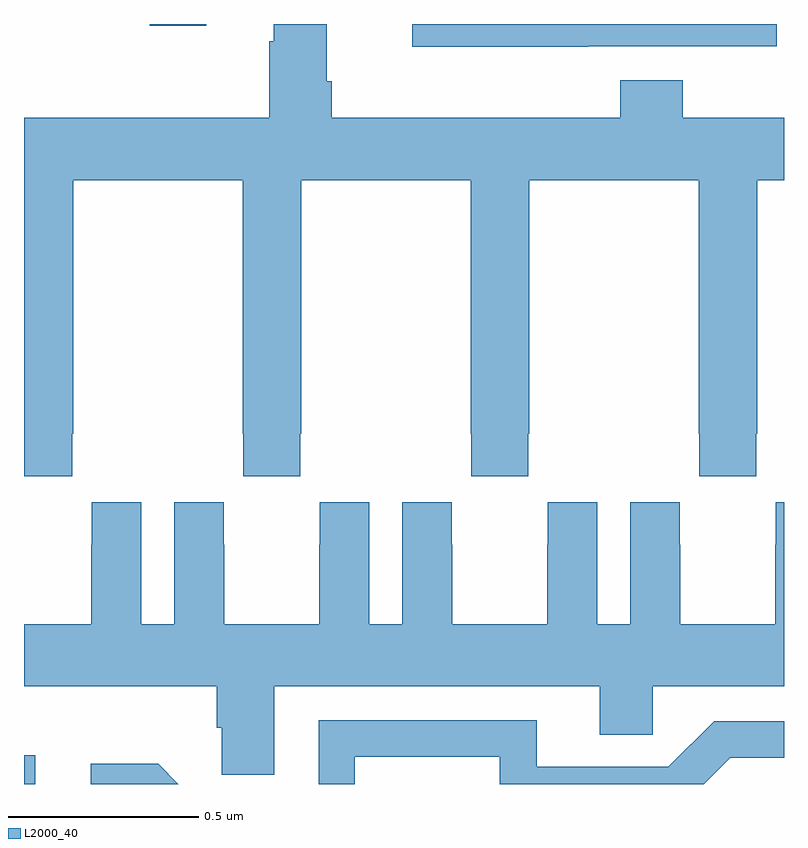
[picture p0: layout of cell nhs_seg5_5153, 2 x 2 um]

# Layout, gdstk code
import gdstk
lib = gdstk.Library(unit=1e-6, precision=1e-09)
def R(c, l, rs):  # rectangles x0, y0, x1, y1
    for r in rs: c.add(gdstk.rectangle(r[:2], r[2:], *l))
def P(c, l, *ps):  # polygons
    for p in ps: c.add(gdstk.Polygon(p, *l))
L2000_40 = (2000, 40)

nhs_seg5_5153 = lib.new_cell('nhs_seg5_5153')
R(nhs_seg5_5153, L2000_40, [(179,893.799,179.029,893.875), (179.331,895.794,179.479,895.799)])
P(nhs_seg5_5153, L2000_40, [(179.127,894.721),(179.13,894.721),(179.13,895.388),(179.575,895.388),(179.575,894.721),(179.577,894.721),(179.577,894.609),(179.727,894.609),(179.727,894.721),(179.73,894.721),(179.73,895.388),(180.175,895.388),(180.175,894.721),(180.177,894.721),(180.177,894.609),(180.327,894.609),(180.327,894.721),(180.33,894.721),(180.33,895.388),(180.775,895.388),(180.775,894.721),(180.777,894.721),(180.777,894.609),(180.927,894.609),(180.927,894.721),(180.93,894.721),(180.93,895.388),(181,895.388),(181,895.552),(180.734,895.552),(180.734,895.651),(180.569,895.651),(180.569,895.552),(179.81,895.552),(179.81,895.648),(179.797,895.648),(179.797,895.799),(179.657,895.799),(179.657,895.754),(179.645,895.754),(179.645,895.552),(179,895.552),(179,894.609),(179.127,894.609)],
  [(180.485,895.74),(180.981,895.74),(180.981,895.799),(180.022,895.799),(180.022,895.739),(180.485,895.739)],
  [(179.659,894.056),(180.515,894.056),(180.515,893.929),(180.654,893.929),(180.654,894.056),(181,894.056),(181,894.541),(180.978,894.541),(180.978,894.428),(180.977,894.428),(180.977,894.22),(180.727,894.22),(180.727,894.428),(180.726,894.428),(180.726,894.541),(180.596,894.541),(180.596,894.22),(180.508,894.22),(180.508,894.541),(180.378,894.541),(180.378,894.428),(180.377,894.428),(180.377,894.22),(180.127,894.22),(180.127,894.428),(180.126,894.428),(180.126,894.541),(179.996,894.541),(179.996,894.22),(179.908,894.22),(179.908,894.541),(179.778,894.541),(179.778,894.428),(179.777,894.428),(179.777,894.22),(179.527,894.22),(179.527,894.428),(179.526,894.428),(179.526,894.541),(179.396,894.541),(179.396,894.22),(179.308,894.22),(179.308,894.541),(179.178,894.541),(179.178,894.428),(179.177,894.428),(179.177,894.22),(179,894.22),(179,894.056),(179.507,894.056),(179.507,893.947),(179.52,893.947),(179.52,893.824),(179.659,893.824)],
  [(179.871,893.871),(180.252,893.871),(180.252,893.799),(180.789,893.799),(180.858,893.868),(181,893.868),(181,893.964),(180.816,893.964),(180.696,893.844),(180.349,893.844),(180.349,893.967),(179.775,893.967),(179.775,893.799),(179.871,893.799)],
  [(179.353,893.852),(179.175,893.852),(179.175,893.799),(179.406,893.799)])

lib.write_gds('nhs_seg5_5153.gds')
